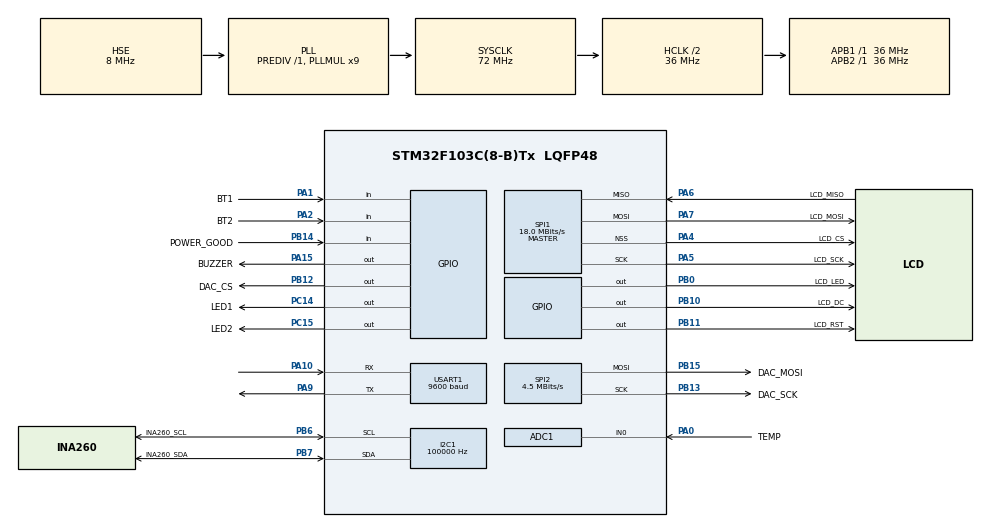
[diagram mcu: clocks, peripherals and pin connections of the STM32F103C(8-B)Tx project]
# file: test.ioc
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ADC1.Channel-2\#ChannelRegularConversion=ADC_CHANNEL_0
ADC1.ContinuousConvMode=ENABLE
ADC1.EnableInjectedConversion=DISABLE
ADC1.InjNumberOfConversion=1
ADC1.NbrOfConversion=1
ADC1.NbrOfConversionFlag=1
ADC1.Rank-2\#ChannelRegularConversion=1
ADC1.SamplingTime-2\#ChannelRegularConversion=ADC_SAMPLETIME_239CYCLES_5
ADC1.master=1
I2C1.ClockSpeed=100000
I2C1.I2C_Mode=I2C_Standard
Mcu.Family=STM32F1
Mcu.Name=STM32F103C(8-B)Tx
Mcu.Package=LQFP48
NVIC.ADC1_2_IRQn=true\:0\:0\:false\:false\:true\:true\:true
NVIC.PriorityGroup=NVIC_PRIORITYGROUP_4
NVIC.USART1_IRQn=true\:0\:0\:false\:false\:true\:true\:true
PA0-WKUP.GPIO_Label=TEMP
PA0-WKUP.Signal=ADCx_IN0
PA1.GPIO_Label=BT1
PA1.Signal=GPIO_Input
PA10.Mode=Asynchronous
PA10.Signal=USART1_RX
PA13.Mode=Serial_Wire
PA13.Signal=SYS_JTMS-SWDIO
PA14.Mode=Serial_Wire
PA14.Signal=SYS_JTCK-SWCLK
PA15.GPIO_Label=BUZZER
PA15.Signal=GPIO_Output
PA2.GPIO_Label=BT2
PA2.Signal=GPIO_Input
PA4.GPIO_Label=LCD_CS
PA4.Mode=NSS_Signal_Hard_Output
PA4.Signal=SPI1_NSS
PA5.GPIO_Label=LCD_SCK
PA5.Mode=Full_Duplex_Master
PA5.Signal=SPI1_SCK
PA6.GPIO_Label=LCD_MISO
PA6.Mode=Full_Duplex_Master
PA6.Signal=SPI1_MISO
PA7.GPIO_Label=LCD_MOSI
PA7.Mode=Full_Duplex_Master
PA7.Signal=SPI1_MOSI
PA9.Mode=Asynchronous
PA9.Signal=USART1_TX
PB0.GPIO_Label=LCD_LED
PB0.Signal=GPIO_Output
PB10.GPIO_Label=LCD_DC
PB10.Signal=GPIO_Output
PB11.GPIO_Label=LCD_RST
PB11.Signal=GPIO_Output
PB12.GPIO_Label=DAC_CS
PB12.GPIO_Speed=GPIO_SPEED_FREQ_HIGH
PB12.PinState=GPIO_PIN_SET
PB12.Signal=GPIO_Output
PB13.GPIO_Label=DAC_SCK
PB13.Mode=TX_Only_Simplex_Unidirect_Master
PB13.Signal=SPI2_SCK
PB14.GPIO_Label=POWER_GOOD
PB14.Signal=GPIO_Input
PB15.GPIO_Label=DAC_MOSI
PB15.Mode=TX_Only_Simplex_Unidirect_Master
PB15.Signal=SPI2_MOSI
PB6.GPIO_Label=INA260_SCL
PB6.Mode=I2C
PB6.Signal=I2C1_SCL
PB7.GPIO_Label=INA260_SDA
PB7.Mode=I2C
PB7.Signal=I2C1_SDA
PC14-OSC32_IN.GPIO_Label=LED1
PC14-OSC32_IN.Signal=GPIO_Output
PC15-OSC32_OUT.GPIO_Label=LED2
PC15-OSC32_OUT.Signal=GPIO_Output
PD0-OSC_IN.Mode=HSE-External-Oscillator
PD0-OSC_IN.Signal=RCC_OSC_IN
PD1-OSC_OUT.Mode=HSE-External-Oscillator
PD1-OSC_OUT.Signal=RCC_OSC_OUT
ProjectManager.HeapSize=0x200
ProjectManager.StackSize=0x400
ProjectManager.TargetToolchain=MDK-ARM V5.27
RCC.ADCPresc=RCC_ADCPCLK2_DIV8
RCC.AHBCLKDivider=RCC_SYSCLK_DIV2
RCC.AHBFreq_Value=36000000
RCC.APB1Freq_Value=36000000
RCC.APB1TimFreq_Value=36000000
RCC.APB2Freq_Value=36000000
RCC.APB2TimFreq_Value=36000000
RCC.HCLKFreq_Value=36000000
RCC.PLLMUL=RCC_PLL_MUL9
RCC.PLLSourceVirtual=RCC_PLLSOURCE_HSE
RCC.SYSCLKFreq_VALUE=72000000
RCC.SYSCLKSource=RCC_SYSCLKSOURCE_PLLCLK
RCC.USBFreq_Value=72000000
SH.ADCx_IN0.0=ADC1_IN0,IN0
SPI1.BaudRatePrescaler=SPI_BAUDRATEPRESCALER_2
SPI1.CalculateBaudRate=18.0 MBits/s
SPI1.Direction=SPI_DIRECTION_2LINES
SPI1.Mode=SPI_MODE_MASTER
SPI1.VirtualNSS=VM_NSSHARD
SPI1.VirtualType=VM_MASTER
SPI2.BaudRatePrescaler=SPI_BAUDRATEPRESCALER_8
SPI2.CalculateBaudRate=4.5 MBits/s
SPI2.DataSize=SPI_DATASIZE_16BIT
SPI2.Direction=SPI_DIRECTION_2LINES
SPI2.Mode=SPI_MODE_MASTER
SPI2.VirtualType=VM_MASTER
USART1.BaudRate=9600
USART1.VirtualMode=VM_ASYNC
board=custom

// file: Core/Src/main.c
/* USER CODE BEGIN Header */
/**
  ******************************************************************************
  * @file           : main.c
  * @brief          : Main program body
  ******************************************************************************
  * @attention
  *
  * <h2><center>&copy; Copyright (c) 2020 STMicroelectronics.
  * All rights reserved.</center></h2>
  *
  * This software component is licensed by ST under BSD 3-Clause license,
  * the "License"; You may not use this file except in compliance with the
  * License. You may obtain a copy of the License at:
  *                        opensource.org/licenses/BSD-3-Clause
  *
  ******************************************************************************
  */
/* USER CODE END Header */
#include "main.h"

/* USER CODE BEGIN Includes */
#include "ILI9341_STM32_Driver.h"
#include "ILI9341_GFX.h"
#include "MCP4822.h"
#include "stdio.h"
#include "math.h"
/* USER CODE END Includes */

/* USER CODE BEGIN PD */
#define on GPIO_PIN_SET
#define off GPIO_PIN_RESET
/* USER CODE END PD */

ADC_HandleTypeDef hadc1;

I2C_HandleTypeDef hi2c1;

SPI_HandleTypeDef hspi1;
SPI_HandleTypeDef hspi2;

UART_HandleTypeDef huart1;

/* USER CODE BEGIN PV */
volatile char uart1_indx[1];
float temp=0;
uint8_t abc[2]={0x13,0xFF};
/* USER CODE END PV */

void SystemClock_Config(void);
static void MX_GPIO_Init(void);
static void MX_USART1_UART_Init(void);
static void MX_ADC1_Init(void);
static void MX_SPI1_Init(void);
static void MX_SPI2_Init(void);
static void MX_I2C1_Init(void);
/* USER CODE BEGIN PFP */
int fputc(int ch, FILE *f){

	//HAL_UART_Transmit(&huart1,(uint8_t *)&ch,1,10);
	return ch;
}
/* USER CODE END PFP */

int main(void)
{
  /* USER CODE BEGIN 1 */
	char Temp_Buffer_text[40];
	uint16_t value_dac=0;
  /* USER CODE END 1 */

  /* MCU Configuration--------------------------------------------------------*/

  /* Reset of all peripherals, Initializes the Flash interface and the Systick. */
  HAL_Init();

  /* Configure the system clock */
  SystemClock_Config();

  /* Initialize all configured peripherals */
  MX_GPIO_Init();
  MX_USART1_UART_Init();
  MX_ADC1_Init();
  MX_SPI1_Init();
  MX_SPI2_Init();
  MX_I2C1_Init();
  /* USER CODE BEGIN 2 */
	HAL_UART_Receive_IT(&huart1, (uint8_t *) uart1_indx, 1);
	HAL_ADC_Start_IT(&hadc1);
	HAL_GPIO_WritePin(LCD_LED_GPIO_Port,LCD_LED_Pin,on);
	ILI9341_Init();

	ILI9341_Fill_Screen(WHITE);
	ILI9341_Set_Rotation(SCREEN_HORIZONTAL_1);
	ILI9341_Draw_Text("FPS TEST, 40 loop 2 screens", 10, 10, BLACK, 1, WHITE);
	//ILI9341_Fill_Screen(WHITE);

	MCP4822_DAC_Write(DAC_B, GAIN_X2, SHUTDOWN_MODE, 2000);
	HAL_Delay(100);
	MCP4822_DAC_Write(DAC_A, GAIN_X2, ACTIVE_MODE, 1234);
//	HAL_GPIO_WritePin(DAC_CS_GPIO_Port,DAC_CS_Pin, GPIO_PIN_RESET);
//	HAL_Delay(1);
//	HAL_SPI_Transmit(&hspi2,abc,2,100);
//	HAL_Delay(1);
//	HAL_GPIO_WritePin(DAC_CS_GPIO_Port,DAC_CS_Pin, GPIO_PIN_SET);
//	HAL_Delay(1);
//	HAL_GPIO_WritePin(DAC_LATCH_GPIO_Port,DAC_LATCH_Pin, GPIO_PIN_RESET);
//	HAL_Delay(1);
//	HAL_GPIO_WritePin(DAC_LATCH_GPIO_Port,DAC_LATCH_Pin, GPIO_PIN_SET);
  /* USER CODE END 2 */

  /* Infinite loop */
  while (1)
  {

    /* USER CODE BEGIN 3 */

		HAL_GPIO_WritePin(LED1_GPIO_Port,LED1_Pin,HAL_GPIO_ReadPin(POWER_GOOD_GPIO_Port,POWER_GOOD_Pin));

		// TEST BLINK LED & BUZZER //
//		HAL_GPIO_TogglePin(LED1_GPIO_Port,LED1_Pin);
//		HAL_GPIO_TogglePin(LED2_GPIO_Port,LED2_Pin);
//		HAL_GPIO_TogglePin(BUZZER_GPIO_Port,BUZZER_Pin);
//		HAL_Delay(300);
		// END TEST BLINK LED & BUZZER //

		// TEST BUTTON //
//			if(!HAL_GPIO_ReadPin(BT1_GPIO_Port,BT1_Pin))
//				HAL_GPIO_WritePin(LED1_GPIO_Port,LED1_Pin,on);
//			else
//				HAL_GPIO_WritePin(LED1_GPIO_Port,LED1_Pin,off);
//			if(!HAL_GPIO_ReadPin(BT2_GPIO_Port,BT2_Pin))
//				HAL_GPIO_WritePin(LED2_GPIO_Port,LED2_Pin,on);
//			else
//				HAL_GPIO_WritePin(LED2_GPIO_Port,LED2_Pin,off);
		// END TEST BUTTON //

		// TEST UART //
				//printf("he\n");
//				sprintf(Temp_Buffer_text, "nhiet do: %5.2f", temp);
//				ILI9341_Draw_Text(Temp_Buffer_text, 10, 20, RED, 2, WHITE);
				HAL_GPIO_TogglePin(LED2_GPIO_Port,LED2_Pin);
				HAL_Delay(100);

//				MCP4822_DAC_Write(DAC_A, GAIN_X2, ACTIVE_MODE, value_dac);
//				value_dac++;
//				if(value_dac==4096)
//					value_dac=0;
//			if(HAL_UART_Receive(&huart1,(uint8_t*)uart1_indx,1,100)== HAL_OK){
//					printf("\n%c\n",uart1_indx[0]-32);
//			}

		// END TEST UART //

		// TEST ADC //

		//////////////
  }
  /* USER CODE END 3 */
}

void SystemClock_Config(void)
{
  RCC_OscInitTypeDef RCC_OscInitStruct = {0};
  RCC_ClkInitTypeDef RCC_ClkInitStruct = {0};
  RCC_PeriphCLKInitTypeDef PeriphClkInit = {0};

  /** Initializes the RCC Oscillators according to the specified parameters
  * in the RCC_OscInitTypeDef structure.
  */
  RCC_OscInitStruct.OscillatorType = RCC_OSCILLATORTYPE_HSE;
  RCC_OscInitStruct.HSEState = RCC_HSE_ON;
  RCC_OscInitStruct.HSEPredivValue = RCC_HSE_PREDIV_DIV1;
  RCC_OscInitStruct.HSIState = RCC_HSI_ON;
  RCC_OscInitStruct.PLL.PLLState = RCC_PLL_ON;
  RCC_OscInitStruct.PLL.PLLSource = RCC_PLLSOURCE_HSE;
  RCC_OscInitStruct.PLL.PLLMUL = RCC_PLL_MUL9;
  if (HAL_RCC_OscConfig(&RCC_OscInitStruct) != HAL_OK)
  {
    Error_Handler();
  }
  /** Initializes the CPU, AHB and APB buses clocks
  */
  RCC_ClkInitStruct.ClockType = RCC_CLOCKTYPE_HCLK|RCC_CLOCKTYPE_SYSCLK
                              |RCC_CLOCKTYPE_PCLK1|RCC_CLOCKTYPE_PCLK2;
  RCC_ClkInitStruct.SYSCLKSource = RCC_SYSCLKSOURCE_PLLCLK;
  RCC_ClkInitStruct.AHBCLKDivider = RCC_SYSCLK_DIV2;
  RCC_ClkInitStruct.APB1CLKDivider = RCC_HCLK_DIV1;
  RCC_ClkInitStruct.APB2CLKDivider = RCC_HCLK_DIV1;

  if (HAL_RCC_ClockConfig(&RCC_ClkInitStruct, FLASH_LATENCY_2) != HAL_OK)
  {
    Error_Handler();
  }
  PeriphClkInit.PeriphClockSelection = RCC_PERIPHCLK_ADC;
  PeriphClkInit.AdcClockSelection = RCC_ADCPCLK2_DIV8;
  if (HAL_RCCEx_PeriphCLKConfig(&PeriphClkInit) != HAL_OK)
  {
    Error_Handler();
  }
}

static void MX_ADC1_Init(void)
{

  ADC_ChannelConfTypeDef sConfig = {0};

  /** Common config
  */
  hadc1.Instance = ADC1;
  hadc1.Init.ScanConvMode = ADC_SCAN_DISABLE;
  hadc1.Init.ContinuousConvMode = ENABLE;
  hadc1.Init.DiscontinuousConvMode = DISABLE;
  hadc1.Init.ExternalTrigConv = ADC_SOFTWARE_START;
  hadc1.Init.DataAlign = ADC_DATAALIGN_RIGHT;
  hadc1.Init.NbrOfConversion = 1;
  if (HAL_ADC_Init(&hadc1) != HAL_OK)
  {
    Error_Handler();
  }
  /** Configure Regular Channel
  */
  sConfig.Channel = ADC_CHANNEL_0;
  sConfig.Rank = ADC_REGULAR_RANK_1;
  sConfig.SamplingTime = ADC_SAMPLETIME_239CYCLES_5;
  if (HAL_ADC_ConfigChannel(&hadc1, &sConfig) != HAL_OK)
  {
    Error_Handler();
  }

}

static void MX_I2C1_Init(void)
{

  hi2c1.Instance = I2C1;
  hi2c1.Init.ClockSpeed = 100000;
  hi2c1.Init.DutyCycle = I2C_DUTYCYCLE_2;
  hi2c1.Init.OwnAddress1 = 0;
  hi2c1.Init.AddressingMode = I2C_ADDRESSINGMODE_7BIT;
  hi2c1.Init.DualAddressMode = I2C_DUALADDRESS_DISABLE;
  hi2c1.Init.OwnAddress2 = 0;
  hi2c1.Init.GeneralCallMode = I2C_GENERALCALL_DISABLE;
  hi2c1.Init.NoStretchMode = I2C_NOSTRETCH_DISABLE;
  if (HAL_I2C_Init(&hi2c1) != HAL_OK)
  {
    Error_Handler();
  }

}

static void MX_SPI1_Init(void)
{

  /* SPI1 parameter configuration*/
  hspi1.Instance = SPI1;
  hspi1.Init.Mode = SPI_MODE_MASTER;
  hspi1.Init.Direction = SPI_DIRECTION_2LINES;
  hspi1.Init.DataSize = SPI_DATASIZE_8BIT;
  hspi1.Init.CLKPolarity = SPI_POLARITY_LOW;
  hspi1.Init.CLKPhase = SPI_PHASE_1EDGE;
  hspi1.Init.NSS = SPI_NSS_HARD_OUTPUT;
  hspi1.Init.BaudRatePrescaler = SPI_BAUDRATEPRESCALER_64;
  hspi1.Init.FirstBit = SPI_FIRSTBIT_MSB;
  hspi1.Init.TIMode = SPI_TIMODE_DISABLE;
  hspi1.Init.CRCCalculation = SPI_CRCCALCULATION_DISABLE;
  hspi1.Init.CRCPolynomial = 10;
  if (HAL_SPI_Init(&hspi1) != HAL_OK)
  {
    Error_Handler();
  }

}

static void MX_SPI2_Init(void)
{

  /* SPI2 parameter configuration*/
  hspi2.Instance = SPI2;
  hspi2.Init.Mode = SPI_MODE_MASTER;
  hspi2.Init.Direction = SPI_DIRECTION_2LINES;
  hspi2.Init.DataSize = SPI_DATASIZE_16BIT;
  hspi2.Init.CLKPolarity = SPI_POLARITY_LOW;
  hspi2.Init.CLKPhase = SPI_PHASE_1EDGE;
  hspi2.Init.NSS = SPI_NSS_SOFT;
  hspi2.Init.BaudRatePrescaler = SPI_BAUDRATEPRESCALER_8;
  hspi2.Init.FirstBit = SPI_FIRSTBIT_MSB;
  hspi2.Init.TIMode = SPI_TIMODE_DISABLE;
  hspi2.Init.CRCCalculation = SPI_CRCCALCULATION_DISABLE;
  hspi2.Init.CRCPolynomial = 10;
  if (HAL_SPI_Init(&hspi2) != HAL_OK)
  {
    Error_Handler();
  }

}

static void MX_USART1_UART_Init(void)
{

  huart1.Instance = USART1;
  huart1.Init.BaudRate = 9600;
  huart1.Init.WordLength = UART_WORDLENGTH_8B;
  huart1.Init.StopBits = UART_STOPBITS_1;
  huart1.Init.Parity = UART_PARITY_NONE;
  huart1.Init.Mode = UART_MODE_TX_RX;
  huart1.Init.HwFlowCtl = UART_HWCONTROL_NONE;
  huart1.Init.OverSampling = UART_OVERSAMPLING_16;
  if (HAL_UART_Init(&huart1) != HAL_OK)
  {
    Error_Handler();
  }

}

static void MX_GPIO_Init(void)
{
  GPIO_InitTypeDef GPIO_InitStruct = {0};

  /* GPIO Ports Clock Enable */
  __HAL_RCC_GPIOC_CLK_ENABLE();
  __HAL_RCC_GPIOD_CLK_ENABLE();
  __HAL_RCC_GPIOA_CLK_ENABLE();
  __HAL_RCC_GPIOB_CLK_ENABLE();

  /*Configure GPIO pin Output Level */
  HAL_GPIO_WritePin(GPIOC, LED1_Pin|LED2_Pin, GPIO_PIN_RESET);

  /*Configure GPIO pin Output Level */
  HAL_GPIO_WritePin(GPIOB, LCD_LED_Pin|LCD_DC_Pin|LCD_RST_Pin, GPIO_PIN_RESET);

  /*Configure GPIO pin Output Level */
  HAL_GPIO_WritePin(DAC_CS_GPIO_Port, DAC_CS_Pin, GPIO_PIN_SET);

  /*Configure GPIO pin Output Level */
  HAL_GPIO_WritePin(BUZZER_GPIO_Port, BUZZER_Pin, GPIO_PIN_RESET);

  /*Configure GPIO pins : LED1_Pin LED2_Pin */
  GPIO_InitStruct.Pin = LED1_Pin|LED2_Pin;
  GPIO_InitStruct.Mode = GPIO_MODE_OUTPUT_PP;
  GPIO_InitStruct.Pull = GPIO_NOPULL;
  GPIO_InitStruct.Speed = GPIO_SPEED_FREQ_LOW;
  HAL_GPIO_Init(GPIOC, &GPIO_InitStruct);

  /*Configure GPIO pins : BT1_Pin BT2_Pin */
  GPIO_InitStruct.Pin = BT1_Pin|BT2_Pin;
  GPIO_InitStruct.Mode = GPIO_MODE_INPUT;
  GPIO_InitStruct.Pull = GPIO_NOPULL;
  HAL_GPIO_Init(GPIOA, &GPIO_InitStruct);

  /*Configure GPIO pins : LCD_LED_Pin LCD_DC_Pin LCD_RST_Pin */
  GPIO_InitStruct.Pin = LCD_LED_Pin|LCD_DC_Pin|LCD_RST_Pin;
  GPIO_InitStruct.Mode = GPIO_MODE_OUTPUT_PP;
  GPIO_InitStruct.Pull = GPIO_NOPULL;
  GPIO_InitStruct.Speed = GPIO_SPEED_FREQ_LOW;
  HAL_GPIO_Init(GPIOB, &GPIO_InitStruct);

  /*Configure GPIO pin : DAC_CS_Pin */
  GPIO_InitStruct.Pin = DAC_CS_Pin;
  GPIO_InitStruct.Mode = GPIO_MODE_OUTPUT_PP;
  GPIO_InitStruct.Pull = GPIO_NOPULL;
  GPIO_InitStruct.Speed = GPIO_SPEED_FREQ_HIGH;
  HAL_GPIO_Init(DAC_CS_GPIO_Port, &GPIO_InitStruct);

  /*Configure GPIO pin : POWER_GOOD_Pin */
  GPIO_InitStruct.Pin = POWER_GOOD_Pin;
  GPIO_InitStruct.Mode = GPIO_MODE_INPUT;
  GPIO_InitStruct.Pull = GPIO_NOPULL;
  HAL_GPIO_Init(POWER_GOOD_GPIO_Port, &GPIO_InitStruct);

  /*Configure GPIO pin : BUZZER_Pin */
  GPIO_InitStruct.Pin = BUZZER_Pin;
  GPIO_InitStruct.Mode = GPIO_MODE_OUTPUT_PP;
  GPIO_InitStruct.Pull = GPIO_NOPULL;
  GPIO_InitStruct.Speed = GPIO_SPEED_FREQ_LOW;
  HAL_GPIO_Init(BUZZER_GPIO_Port, &GPIO_InitStruct);

}

/* USER CODE BEGIN 4 */
//void HAL_UART_RxCpltCallback(UART_HandleTypeDef *huart){
//
//	if(huart->Instance == USART1){
//
//		printf("hello\n");
//	}
//}

void HAL_ADC_ConvCpltCallback(ADC_HandleTypeDef* hadc){

	float resistor=0;
	if(hadc -> Instance == ADC1){

		resistor=HAL_ADC_GetValue(&hadc1);
		resistor = resistor*3.3/4096.0; // voltage
		resistor = (33000.0-10000.0*resistor)/resistor;
    temp=1/(log(resistor/10000.0)/3950.0 + 1/298.15)-273.15;
	}

}
/* USER CODE END 4 */

void Error_Handler(void)
{
}

/************************ (C) COPYRIGHT STMicroelectronics *****END OF FILE****/
